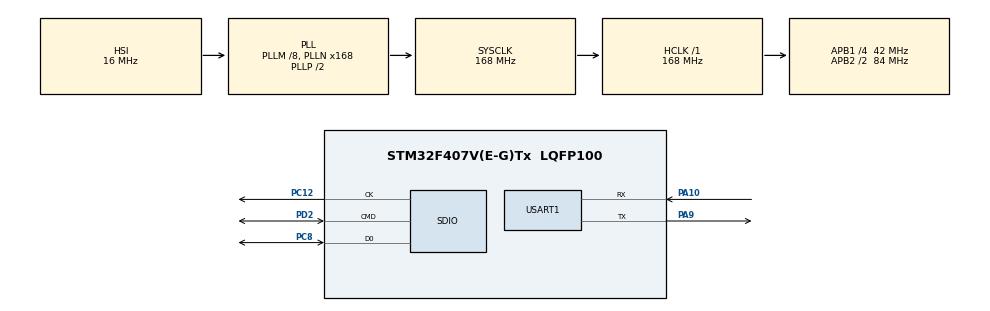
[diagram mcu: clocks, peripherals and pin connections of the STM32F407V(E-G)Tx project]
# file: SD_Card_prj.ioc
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Dma.Request0=SDIO_RX
Dma.Request1=SDIO_TX
Dma.SDIO_RX.0.Direction=DMA_PERIPH_TO_MEMORY
Dma.SDIO_RX.0.FIFOMode=DMA_FIFOMODE_ENABLE
Dma.SDIO_RX.0.FIFOThreshold=DMA_FIFO_THRESHOLD_FULL
Dma.SDIO_RX.0.Instance=DMA2_Stream3
Dma.SDIO_RX.0.MemBurst=DMA_MBURST_INC4
Dma.SDIO_RX.0.MemDataAlignment=DMA_MDATAALIGN_WORD
Dma.SDIO_RX.0.MemInc=DMA_MINC_ENABLE
Dma.SDIO_RX.0.Mode=DMA_PFCTRL
Dma.SDIO_RX.0.PeriphBurst=DMA_PBURST_INC4
Dma.SDIO_RX.0.PeriphDataAlignment=DMA_PDATAALIGN_WORD
Dma.SDIO_RX.0.PeriphInc=DMA_PINC_DISABLE
Dma.SDIO_RX.0.Priority=DMA_PRIORITY_VERY_HIGH
Dma.SDIO_TX.1.Direction=DMA_MEMORY_TO_PERIPH
Dma.SDIO_TX.1.FIFOMode=DMA_FIFOMODE_ENABLE
Dma.SDIO_TX.1.FIFOThreshold=DMA_FIFO_THRESHOLD_FULL
Dma.SDIO_TX.1.Instance=DMA2_Stream6
Dma.SDIO_TX.1.MemBurst=DMA_MBURST_INC4
Dma.SDIO_TX.1.MemDataAlignment=DMA_MDATAALIGN_WORD
Dma.SDIO_TX.1.MemInc=DMA_MINC_ENABLE
Dma.SDIO_TX.1.Mode=DMA_PFCTRL
Dma.SDIO_TX.1.PeriphBurst=DMA_PBURST_INC4
Dma.SDIO_TX.1.PeriphDataAlignment=DMA_PDATAALIGN_WORD
Dma.SDIO_TX.1.PeriphInc=DMA_PINC_DISABLE
Dma.SDIO_TX.1.Priority=DMA_PRIORITY_VERY_HIGH
FATFS.USE_DMA_CODE_SD=1
FATFS._MAX_SS=4096
FREERTOS.Tasks01=defaultTask,24,256,StartDefaultTask,Default,NULL,Dynamic,NULL,NULL
FREERTOS.configUSE_NEWLIB_REENTRANT=1
Mcu.Family=STM32F4
Mcu.Name=STM32F407V(E-G)Tx
Mcu.Package=LQFP100
NVIC.DMA2_Stream3_IRQn=true\:5\:0\:false\:false\:true\:true\:false\:true\:true
NVIC.DMA2_Stream6_IRQn=true\:5\:0\:false\:false\:true\:true\:false\:true\:true
NVIC.PriorityGroup=NVIC_PRIORITYGROUP_4
NVIC.SDIO_IRQn=true\:5\:0\:false\:false\:true\:true\:true\:true\:true
NVIC.TIM8_TRG_COM_TIM14_IRQn=true\:15\:0\:false\:false\:true\:false\:false\:true\:true
NVIC.TimeBase=TIM8_TRG_COM_TIM14_IRQn
NVIC.TimeBaseIP=TIM14
PA10.Mode=Asynchronous
PA10.Signal=USART1_RX
PA13.Mode=Serial_Wire
PA13.Signal=SYS_JTMS-SWDIO
PA14.Mode=Serial_Wire
PA14.Signal=SYS_JTCK-SWCLK
PA9.Mode=Asynchronous
PA9.Signal=USART1_TX
PC12.Mode=SD_1_bit
PC12.Signal=SDIO_CK
PC8.Mode=SD_1_bit
PC8.Signal=SDIO_D0
PD2.Mode=SD_1_bit
PD2.Signal=SDIO_CMD
ProjectManager.HeapSize=0x200
ProjectManager.StackSize=0x400
ProjectManager.TargetToolchain=STM32CubeIDE
RCC.48MHZClocksFreq_Value=48000000
RCC.AHBFreq_Value=168000000
RCC.APB1CLKDivider=RCC_HCLK_DIV4
RCC.APB1Freq_Value=42000000
RCC.APB1TimFreq_Value=84000000
RCC.APB2CLKDivider=RCC_HCLK_DIV2
RCC.APB2Freq_Value=84000000
RCC.APB2TimFreq_Value=168000000
RCC.CortexFreq_Value=168000000
RCC.HCLKFreq_Value=168000000
RCC.HSE_VALUE=25000000
RCC.HSI_VALUE=16000000
RCC.LSE_VALUE=32768
RCC.PLLM=8
RCC.PLLN=168
RCC.PLLQ=7
RCC.SYSCLKFreq_VALUE=168000000
RCC.SYSCLKSource=RCC_SYSCLKSOURCE_PLLCLK
RCC.VCOOutputFreq_Value=336000000
SDIO.ClockDiv=8
USART1.VirtualMode=VM_ASYNC
VP_FATFS_VS_SDIO.Mode=SDIO
VP_FREERTOS_VS_CMSIS_V2.Mode=CMSIS_V2
VP_SYS_VS_tim14.Mode=TIM14
board=custom

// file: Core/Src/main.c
/* USER CODE BEGIN Header */
/**
  ******************************************************************************
  * @file           : main.c
  * @brief          : Main program body
  ******************************************************************************
  * @attention
  *
  * Copyright (c) 2024 STMicroelectronics.
  * All rights reserved.
  *
  * This software is licensed under terms that can be found in the LICENSE file
  * in the root directory of this software component.
  * If no LICENSE file comes with this software, it is provided AS-IS.
  *
  ******************************************************************************
  */
/* USER CODE END Header */
#include "main.h"
#include "cmsis_os.h"
#include "dma.h"
#include "fatfs.h"
#include "sdio.h"
#include "usart.h"
#include "gpio.h"

/* USER CODE BEGIN PTD */
#ifdef __GNUC__
	#define  PUTCHAR_PROTOTYPE int __io_putchar(int ch)
#else
	#define PUTCHAR_PROTOTYPE int fputc(int ch, FILE *f)
#endif

/* USER CODE END PTD */

void SystemClock_Config(void);
void MX_FREERTOS_Init(void);

int main(void)
{

  /* MCU Configuration--------------------------------------------------------*/

  /* Reset of all peripherals, Initializes the Flash interface and the Systick. */
  HAL_Init();

  /* Configure the system clock */
  SystemClock_Config();

  /* Initialize all configured peripherals */
  MX_GPIO_Init();
  MX_DMA_Init();
  MX_SDIO_SD_Init();
  MX_FATFS_Init();
  MX_USART1_UART_Init();

  /* Init scheduler */
  osKernelInitialize();

  /* Call init function for freertos objects (in cmsis_os2.c) */
  MX_FREERTOS_Init();

  /* Start scheduler */
  osKernelStart();

  /* We should never get here as control is now taken by the scheduler */

  /* Infinite loop */
  while (1)
  {

  }
}

void SystemClock_Config(void)
{
  RCC_OscInitTypeDef RCC_OscInitStruct = {0};
  RCC_ClkInitTypeDef RCC_ClkInitStruct = {0};

  /** Configure the main internal regulator output voltage
  */
  __HAL_RCC_PWR_CLK_ENABLE();
  __HAL_PWR_VOLTAGESCALING_CONFIG(PWR_REGULATOR_VOLTAGE_SCALE1);

  /** Initializes the RCC Oscillators according to the specified parameters
  * in the RCC_OscInitTypeDef structure.
  */
  RCC_OscInitStruct.OscillatorType = RCC_OSCILLATORTYPE_HSI;
  RCC_OscInitStruct.HSIState = RCC_HSI_ON;
  RCC_OscInitStruct.HSICalibrationValue = RCC_HSICALIBRATION_DEFAULT;
  RCC_OscInitStruct.PLL.PLLState = RCC_PLL_ON;
  RCC_OscInitStruct.PLL.PLLSource = RCC_PLLSOURCE_HSI;
  RCC_OscInitStruct.PLL.PLLM = 8;
  RCC_OscInitStruct.PLL.PLLN = 168;
  RCC_OscInitStruct.PLL.PLLP = RCC_PLLP_DIV2;
  RCC_OscInitStruct.PLL.PLLQ = 7;
  if (HAL_RCC_OscConfig(&RCC_OscInitStruct) != HAL_OK)
  {
    Error_Handler();
  }

  /** Initializes the CPU, AHB and APB buses clocks
  */
  RCC_ClkInitStruct.ClockType = RCC_CLOCKTYPE_HCLK|RCC_CLOCKTYPE_SYSCLK
                              |RCC_CLOCKTYPE_PCLK1|RCC_CLOCKTYPE_PCLK2;
  RCC_ClkInitStruct.SYSCLKSource = RCC_SYSCLKSOURCE_PLLCLK;
  RCC_ClkInitStruct.AHBCLKDivider = RCC_SYSCLK_DIV1;
  RCC_ClkInitStruct.APB1CLKDivider = RCC_HCLK_DIV4;
  RCC_ClkInitStruct.APB2CLKDivider = RCC_HCLK_DIV2;

  if (HAL_RCC_ClockConfig(&RCC_ClkInitStruct, FLASH_LATENCY_5) != HAL_OK)
  {
    Error_Handler();
  }
}

/* USER CODE BEGIN 4 */
PUTCHAR_PROTOTYPE{
	HAL_UART_Transmit(&huart1, (uint8_t *)&ch, 1, 0xFFFF);
	return ch;
}
/* USER CODE END 4 */

void HAL_TIM_PeriodElapsedCallback(TIM_HandleTypeDef *htim)
{
  if (htim->Instance == TIM14)
  {
    HAL_IncTick();
  }
}

void Error_Handler(void)
{
  __disable_irq();
  while (1)
  {
  }
}

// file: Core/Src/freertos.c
/* USER CODE BEGIN Header */
/**
  ******************************************************************************
  * File Name          : freertos.c
  * Description        : Code for freertos applications
  ******************************************************************************
  * @attention
  *
  * Copyright (c) 2024 STMicroelectronics.
  * All rights reserved.
  *
  * This software is licensed under terms that can be found in the LICENSE file
  * in the root directory of this software component.
  * If no LICENSE file comes with this software, it is provided AS-IS.
  *
  ******************************************************************************
  */
/* USER CODE END Header */

#include "FreeRTOS.h"
#include "task.h"
#include "main.h"
#include "cmsis_os.h"

/* USER CODE BEGIN Includes */
#include "stdio.h"
#include "string.h"
#include "fatfs.h"
/* USER CODE END Includes */

/* USER CODE BEGIN Variables */
extern char SDPath[4];   /* SD logical drive path */
extern FATFS SDFatFS;    /* File system object for SD logical drive */
extern FIL SDFile;       /* File object for SD */
uint8_t wtext[] = "Nira system RTOS Project";
UINT byteswriten , bytesread;
FRESULT fresult;
char readBuf[64];
/* USER CODE END Variables */
/* Definitions for defaultTask */
osThreadId_t defaultTaskHandle;
const osThreadAttr_t defaultTask_attributes = {
  .name = "defaultTask",
  .stack_size = 256 * 4,
  .priority = (osPriority_t) osPriorityNormal,
};

void StartDefaultTask(void *argument);

void MX_FREERTOS_Init(void); /* (MISRA C 2004 rule 8.1) */

void MX_FREERTOS_Init(void) {

  /* Create the thread(s) */
  /* creation of defaultTask */
  defaultTaskHandle = osThreadNew(StartDefaultTask, NULL, &defaultTask_attributes);

}

void StartDefaultTask(void *argument)
{
  /* USER CODE BEGIN StartDefaultTask */
	MX_FATFS_Init();
  /* Infinite loop */
	for (;;)
	{
		fresult = f_mount(&SDFatFS, (TCHAR const*) SDPath, 0);
		if (fresult != FR_OK) printf("Error Mounting\r\n");

		/* ----------- WRITE FILE ----------- */
		fresult = f_open(&SDFile, "Nira.xls", FA_CREATE_ALWAYS | FA_WRITE);
		if (fresult != FR_OK) printf("Error opening File\r\n");

		else {
			printf("File opened successfully\r\n");
			fresult = f_write(&SDFile, wtext, strlen((char*) wtext), (void*) &byteswriten);
			printf("File Writing Successfully\r\n");
			f_close(&SDFile);
		}

		/* ----------- READ FILE ----------- */
		memset(readBuf, 0, sizeof(readBuf));
		fresult = f_open(&SDFile, "Nira.txt", FA_READ);
		if (fresult == FR_OK) {
			f_read(&SDFile, readBuf, sizeof(readBuf), &bytesread);
			printf("File Reading Successfully\r\n");
			f_close(&SDFile);
		}
		else printf("File Reading unsuccessfully\r\n");
		osDelay(1);
	}
  /* USER CODE END StartDefaultTask */
}
